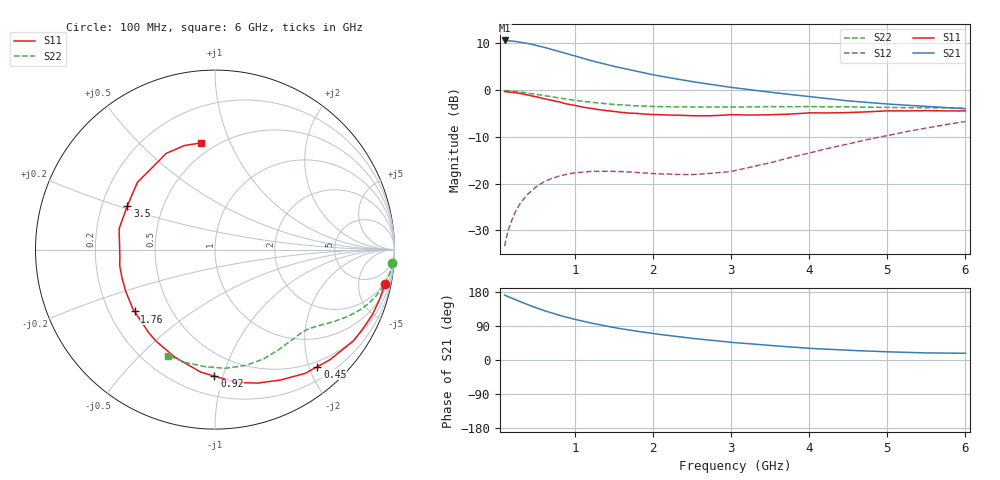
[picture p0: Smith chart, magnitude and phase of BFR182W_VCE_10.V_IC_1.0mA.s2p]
! Infineon Technologies  Discrete & RF Semiconductors
! BFR182W
! VCE =  10. V,  IC =  1.0 mA
! Common Emitter S-Parameters:  Nov 2015
# GHz  S  MA  R  50
!  f  S11  S21  S12  S22
! GHz  MAG  ANG  MAG  ANG  MAG  ANG  MAG  ANG
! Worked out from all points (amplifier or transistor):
!   192 points, 100 MHz to 6 GHz, reference 50 ohm
!   highest |S21| = 10.6 dB at 100 MHz (marker M1)
!   |S21| within 3 dB of that: start of sweep to 931.1 MHz
!   unconditionally stable (mu >= 1): 2.18 GHz to 3.357 GHz
!   at 440 MHz: K = 0.20, MSG = 15.7 dB, |S12| = -21.6 dB
!   at 1.7 GHz: K = 0.79, MSG = 10.9 dB, |S12| = -17.5 dB
!   at 6 GHz: K = 0.81, MSG = 1.4 dB, |S12| = -6.7 dB
!   S11 on the Smith chart (normalised r, x): 100 MHz: 1.64, -9.74; 450 MHz: 0.41, -2.14; 920 MHz: 0.33, -0.94; 1.76 GHz: 0.31, -0.31; 3.5 GHz: 0.31, +0.21; 6 GHz: 0.42, +0.79
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0.1  0.9672 -11.4  3.403 171.3  0.0214 82.6  0.99 -4.4
0.155  0.9565 -17.6  3.374 166.3  0.0333 79.2  0.9855 -6.8
0.24  0.9369 -27.0  3.32 159.0  0.0501 73.9  0.9703 -10.3
0.4  0.887 -43.8  3.157 145.6  0.0775 64.2  0.9319 -16.3
0.45  0.8668 -48.8  3.085 141.9  0.0846 61.3  0.9183 -17.9
0.5  0.8533 -53.9  3.026 138.0  0.0918 58.8  0.9055 -19.6
0.6  0.8132 -63.3  2.885 130.8  0.104 54.1  0.8769 -22.4
0.7  0.7804 -72.4  2.735 124.0  0.1133 50.0  0.8498 -24.8
0.8  0.7491 -81.1  2.595 117.9  0.1205 46.3  0.8235 -27.1
0.92  0.7048 -90.3  2.423 111.3  0.1271 42.5  0.7959 -29.3
1.1  0.6591 -103.2  2.196 102.7  0.1325 38.1  0.7607 -32.3
1.2  0.6399 -110.4  2.08 97.7  0.1349 36.0  0.7431 -33.8
1.4  0.6065 -122.9  1.885 89.6  0.1359 33.3  0.7147 -36.4
1.6  0.5778 -134.2  1.724 82.1  0.1345 32.1  0.6943 -38.8
1.76  0.5649 -142.4  1.611 77.1  0.1321 32.3  0.6815 -40.7
2.08  0.5451 -157.8  1.42 67.7  0.1273 34.7  0.6666 -44.7
2.5  0.532 -174.8  1.234 57.0  0.1248 41.9  0.6605 -50.0
3.1  0.5439 164.9  1.045 45.1  0.1408 57.0  0.6609 -59.2
3.5  0.5457 153.4  0.951 38.2  0.1668 64.9  0.6666 -65.8
4.1  0.5705 136.7  0.836 29.8  0.2229 69.4  0.6653 -77.0
5.1  0.6 114.9  0.703 21.0  0.3403 66.7  0.6521 -96.8
6  0.5994 97.4  0.633 17.8  0.4618 58.8  0.646 -114.0
